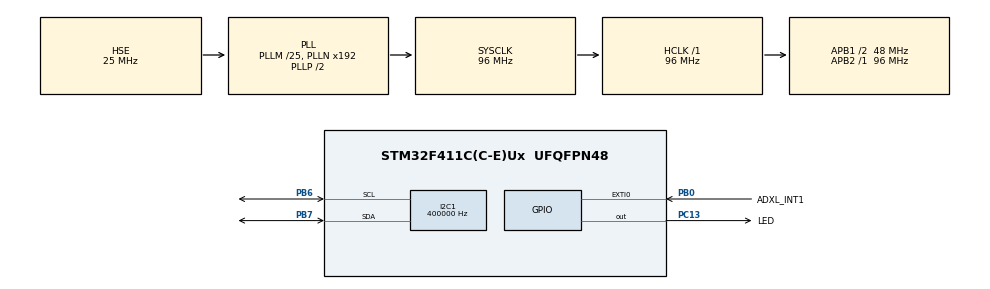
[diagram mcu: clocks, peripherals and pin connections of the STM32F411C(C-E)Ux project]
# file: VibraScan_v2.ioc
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Mcu.Family=STM32F4
I2C1.ClockSpeed=400000
I2C1.I2C_Speed_Mode=I2C_Fast
Mcu.Name=STM32F411C(C-E)Ux
Mcu.Package=UFQFPN48
NVIC.EXTI0_IRQn=true\:1\:0\:false\:false\:true\:true\:true\:true
NVIC.I2C1_ER_IRQn=true\:0\:0\:false\:false\:true\:true\:true\:true
NVIC.I2C1_EV_IRQn=true\:0\:0\:false\:false\:true\:true\:true\:true
NVIC.OTG_FS_IRQn=true\:2\:0\:false\:false\:true\:false\:true\:false
NVIC.PriorityGroup=NVIC_PRIORITYGROUP_4
PA11.Signal=USB_OTG_FS_DM
PA12.Signal=USB_OTG_FS_DP
PA13.Mode=Serial_Wire
PA13.Signal=SYS_JTMS-SWDIO
PA14.Mode=Serial_Wire
PA14.Signal=SYS_JTCK-SWCLK
PB0.GPIO_Label=ADXL_INT1
PB0.GPIO_PuPd=GPIO_PULLDOWN
PB0.Signal=GPXTI0
PB6.Mode=I2C
PB6.Signal=I2C1_SCL
PB7.Mode=I2C
PB7.Signal=I2C1_SDA
PC13-ANTI_TAMP.GPIO_Label=LED
PC13-ANTI_TAMP.PinState=GPIO_PIN_SET
PC13-ANTI_TAMP.Signal=GPIO_Output
PH0\ -\ OSC_IN.Mode=HSE-External-Oscillator
PH0\ -\ OSC_IN.Signal=RCC_OSC_IN
PH1\ -\ OSC_OUT.Mode=HSE-External-Oscillator
PH1\ -\ OSC_OUT.Signal=RCC_OSC_OUT
ProjectManager.HeapSize=0x200
ProjectManager.StackSize=0x400
ProjectManager.TargetToolchain=STM32CubeIDE
RCC.48MHZClocksFreq_Value=48000000
RCC.AHBFreq_Value=96000000
RCC.APB1CLKDivider=RCC_HCLK_DIV2
RCC.APB1Freq_Value=48000000
RCC.APB1TimFreq_Value=96000000
RCC.APB2Freq_Value=96000000
RCC.APB2TimFreq_Value=96000000
RCC.CortexFreq_Value=96000000
RCC.HCLKFreq_Value=96000000
RCC.HSE_VALUE=25000000
RCC.HSI_VALUE=16000000
RCC.LSE_VALUE=32768
RCC.PLLM=25
RCC.PLLN=192
RCC.PLLSourceVirtual=RCC_PLLSOURCE_HSE
RCC.SYSCLKFreq_VALUE=96000000
RCC.SYSCLKSource=RCC_SYSCLKSOURCE_PLLCLK
RCC.VCOOutputFreq_Value=192000000
USB_DEVICE.CLASS_NAME_FS=CDC
USB_DEVICE.VirtualMode=Cdc
USB_DEVICE.VirtualModeFS=Cdc
USB_OTG_FS.VirtualMode=Device_Only
VP_USB_DEVICE_VS_USB_DEVICE_CDC_FS.Mode=CDC_FS
board=custom

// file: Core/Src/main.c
/* USER CODE BEGIN Header */
/**
  ******************************************************************************
  * @file           : main.c
  * @brief          : Main program body
  ******************************************************************************
  * @attention
  *
  * Copyright (c) 2026 STMicroelectronics.
  * All rights reserved.
  *
  * This software is licensed under terms that can be found in the LICENSE file
  * in the root directory of this software component.
  * If no LICENSE file comes with this software, it is provided AS-IS.
  *
  ******************************************************************************
  */
/* USER CODE END Header */
#include "main.h"

/* USER CODE BEGIN Includes */
#include "usb_device.h"
#include "app.h"
/* USER CODE END Includes */

I2C_HandleTypeDef hi2c1;

void SystemClock_Config(void);
static void MX_GPIO_Init(void);
static void MX_I2C1_Init(void);

/* USER CODE BEGIN 0 */

/* Despues de un reset con el cable conectado (por ejemplo al grabar con el
   ST-Link) la PC no se entera de que el dispositivo se desconecto y la nueva
   enumeracion falla ("Dispositivo USB desconocido"). Mantener D+ (PA12) en
   bajo unos milisegundos simula la desconexion. MX_USB_DEVICE_Init() vuelve
   a configurar el pin para el USB. */
static void usb_force_reenumeration(void)
{
  GPIO_InitTypeDef GPIO_InitStruct = {0};

  __HAL_RCC_GPIOA_CLK_ENABLE();
  HAL_GPIO_WritePin(GPIOA, GPIO_PIN_12, GPIO_PIN_RESET);
  GPIO_InitStruct.Pin = GPIO_PIN_12;
  GPIO_InitStruct.Mode = GPIO_MODE_OUTPUT_PP;
  GPIO_InitStruct.Pull = GPIO_NOPULL;
  GPIO_InitStruct.Speed = GPIO_SPEED_FREQ_LOW;
  HAL_GPIO_Init(GPIOA, &GPIO_InitStruct);
  HAL_Delay(20);
  HAL_GPIO_DeInit(GPIOA, GPIO_PIN_12);
}

/* USER CODE END 0 */

int main(void)
{

  /* MCU Configuration--------------------------------------------------------*/

  /* Reset of all peripherals, Initializes the Flash interface and the Systick. */
  HAL_Init();

  /* Configure the system clock */
  SystemClock_Config();

  /* USER CODE BEGIN SysInit */
  usb_force_reenumeration();
  /* USER CODE END SysInit */

  /* Initialize all configured peripherals */
  MX_GPIO_Init();
  MX_I2C1_Init();
  MX_USB_DEVICE_Init();
  /* USER CODE BEGIN 2 */
  app_init();
  /* USER CODE END 2 */

  /* Infinite loop */
  while (1)
  {

    /* USER CODE BEGIN 3 */
    app_loop();
  }
  /* USER CODE END 3 */
}

void SystemClock_Config(void)
{
  RCC_OscInitTypeDef RCC_OscInitStruct = {0};
  RCC_ClkInitTypeDef RCC_ClkInitStruct = {0};

  /** Configure the main internal regulator output voltage
  */
  __HAL_RCC_PWR_CLK_ENABLE();
  __HAL_PWR_VOLTAGESCALING_CONFIG(PWR_REGULATOR_VOLTAGE_SCALE1);

  /** Initializes the RCC Oscillators according to the specified parameters
  * in the RCC_OscInitTypeDef structure.
  */
  RCC_OscInitStruct.OscillatorType = RCC_OSCILLATORTYPE_HSE;
  RCC_OscInitStruct.HSEState = RCC_HSE_ON;
  RCC_OscInitStruct.PLL.PLLState = RCC_PLL_ON;
  RCC_OscInitStruct.PLL.PLLSource = RCC_PLLSOURCE_HSE;
  RCC_OscInitStruct.PLL.PLLM = 25;
  /* PLLN bajo de 200 a 192 (SYSCLK pasa de 100 a 96MHz) para que el USB
     OTG FS (PLLQ) reciba exactamente 48MHz: 192/4=48MHz. USB no tolera
     otra frecuencia (no enumera o es inestable). */
  RCC_OscInitStruct.PLL.PLLN = 192;
  RCC_OscInitStruct.PLL.PLLP = RCC_PLLP_DIV2;
  RCC_OscInitStruct.PLL.PLLQ = 4;
  if (HAL_RCC_OscConfig(&RCC_OscInitStruct) != HAL_OK)
  {
    Error_Handler();
  }

  /** Initializes the CPU, AHB and APB buses clocks
  */
  RCC_ClkInitStruct.ClockType = RCC_CLOCKTYPE_HCLK|RCC_CLOCKTYPE_SYSCLK
                              |RCC_CLOCKTYPE_PCLK1|RCC_CLOCKTYPE_PCLK2;
  RCC_ClkInitStruct.SYSCLKSource = RCC_SYSCLKSOURCE_PLLCLK;
  RCC_ClkInitStruct.AHBCLKDivider = RCC_SYSCLK_DIV1;
  RCC_ClkInitStruct.APB1CLKDivider = RCC_HCLK_DIV2;
  RCC_ClkInitStruct.APB2CLKDivider = RCC_HCLK_DIV1;

  if (HAL_RCC_ClockConfig(&RCC_ClkInitStruct, FLASH_LATENCY_3) != HAL_OK)
  {
    Error_Handler();
  }

  /* En STM32F411 el reloj de 48MHz para USB OTG FS es directamente la
     salida de PLLQ (ver arriba, PLLQ=4 -> 192/4=48MHz): este dispositivo
     no tiene un selector RCC_PeriphCLKInitTypeDef separado para eso, a
     diferencia de otras variantes F4 (F412/F446/F469). No hace falta
     ningun HAL_RCCEx_PeriphCLKConfig adicional. */
}

static void MX_I2C1_Init(void)
{

  hi2c1.Instance = I2C1;
  hi2c1.Init.ClockSpeed = 400000;
  hi2c1.Init.DutyCycle = I2C_DUTYCYCLE_2;
  hi2c1.Init.OwnAddress1 = 0;
  hi2c1.Init.AddressingMode = I2C_ADDRESSINGMODE_7BIT;
  hi2c1.Init.DualAddressMode = I2C_DUALADDRESS_DISABLE;
  hi2c1.Init.OwnAddress2 = 0;
  hi2c1.Init.GeneralCallMode = I2C_GENERALCALL_DISABLE;
  hi2c1.Init.NoStretchMode = I2C_NOSTRETCH_DISABLE;
  if (HAL_I2C_Init(&hi2c1) != HAL_OK)
  {
    Error_Handler();
  }

}

static void MX_GPIO_Init(void)
{

  GPIO_InitTypeDef GPIO_InitStruct = {0};

  /* GPIO Ports Clock Enable */
  __HAL_RCC_GPIOC_CLK_ENABLE();
  __HAL_RCC_GPIOH_CLK_ENABLE();
  __HAL_RCC_GPIOA_CLK_ENABLE();
  __HAL_RCC_GPIOB_CLK_ENABLE();

  /*Configure GPIO pin Output Level (LED apagado: en la Black Pill es activo en bajo) */
  HAL_GPIO_WritePin(LED_GPIO_Port, LED_Pin, GPIO_PIN_SET);

  /*Configure GPIO pin : LED_Pin */
  GPIO_InitStruct.Pin = LED_Pin;
  GPIO_InitStruct.Mode = GPIO_MODE_OUTPUT_PP;
  GPIO_InitStruct.Pull = GPIO_NOPULL;
  GPIO_InitStruct.Speed = GPIO_SPEED_FREQ_LOW;
  HAL_GPIO_Init(LED_GPIO_Port, &GPIO_InitStruct);

  /*Configure GPIO pin : ADXL_INT1_Pin (INT1 del ADXL345; pull-down para que
    sin cable quede en bajo y no genere interrupciones falsas) */
  GPIO_InitStruct.Pin = ADXL_INT1_Pin;
  GPIO_InitStruct.Mode = GPIO_MODE_IT_RISING;
  GPIO_InitStruct.Pull = GPIO_PULLDOWN;
  HAL_GPIO_Init(ADXL_INT1_GPIO_Port, &GPIO_InitStruct);

  /* EXTI interrupt init: se habilita recien en app_init(), con el sensor configurado */
  HAL_NVIC_SetPriority(EXTI0_IRQn, 1, 0);

}

void Error_Handler(void)
{
  /* USER CODE BEGIN Error_Handler_Debug */
  /* Falla de inicializacion de un periferico: LED parpadeando muy rapido.
     La espera es por lazo porque con las interrupciones deshabilitadas
     HAL_Delay no avanza. */
  __disable_irq();
  while (1)
  {
    HAL_GPIO_TogglePin(LED_GPIO_Port, LED_Pin);
    for (volatile uint32_t i = 0; i < 400000U; i++)
    {
    }
  }
  /* USER CODE END Error_Handler_Debug */
}
